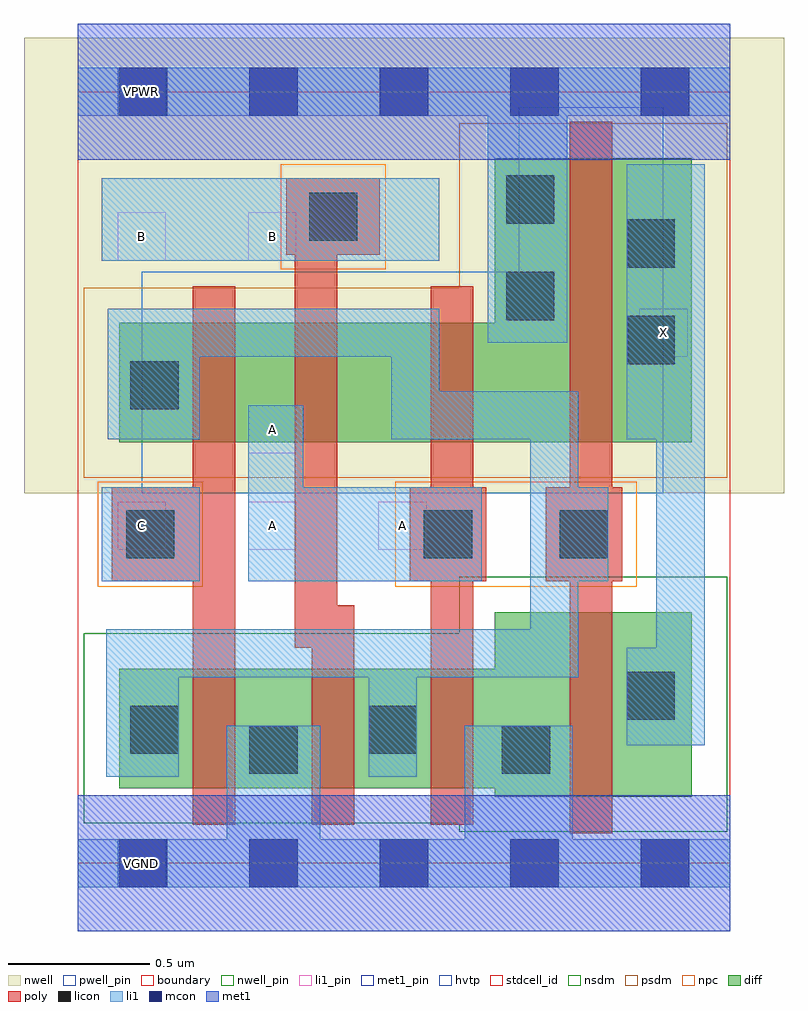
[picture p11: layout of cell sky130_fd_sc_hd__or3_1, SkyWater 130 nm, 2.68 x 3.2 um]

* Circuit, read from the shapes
.subckt sky130_fd_sc_hd__or3_1 A B C VGND VNB VPB VPWR X
XM1 VGND C n1 VNB sky130_fd_pr__nfet_01v8 w=0.42 l=0.15
XM2 n1 B VGND VNB sky130_fd_pr__nfet_01v8 w=0.42 l=0.15
XM3 VGND A n1 VNB sky130_fd_pr__nfet_01v8 w=0.42 l=0.15
XM4 X n1 VGND VNB sky130_fd_pr__nfet_01v8 w=0.65 l=0.15
XM5 n2 C n1 VPB sky130_fd_pr__pfet_01v8_hvt w=0.42 l=0.15
XM6 n3 B n2 VPB sky130_fd_pr__pfet_01v8_hvt w=0.42 l=0.15
XM7 VPWR A n3 VPB sky130_fd_pr__pfet_01v8_hvt w=0.42 l=0.15
XM8 X n1 VPWR VPB sky130_fd_pr__pfet_01v8_hvt w=1 l=0.15
.ends

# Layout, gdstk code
import gdstk
lib = gdstk.Library(unit=1e-6, precision=1e-09)
def R(c, l, rs):  # rectangles x0, y0, x1, y1
    for r in rs: c.add(gdstk.rectangle(r[:2], r[2:], *l))
def A(c, l, x, y, w, h, nx, ny, dx, dy):  # array of equal rectangles
    R(c, l, [(x+i*dx, y+j*dy, x+i*dx+w, y+j*dy+h) for i in range(nx) for j in range(ny)])
nwell_pin = (64, 16)
nwell = (64, 20)
diff = (65, 20)
poly = (66, 20)
licon = (66, 44)
li1_pin = (67, 16)
li1 = (67, 20)
mcon = (67, 44)
met1_pin = (68, 16)
met1 = (68, 20)
hvtp = (78, 44)
stdcell_id = (81, 4)
nsdm = (93, 44)
psdm = (94, 20)
npc = (95, 20)
pwell_pin = (122, 16)
boundary = (235, 4)

sky130_fd_sc_hd__or3_1 = lib.new_cell('sky130_fd_sc_hd__or3_1')
R(sky130_fd_sc_hd__or3_1, nwell_pin, [(0.14,2.635,0.31,2.805)])
R(sky130_fd_sc_hd__or3_1, nwell, [(-0.19,1.305,2.49,2.91)])
R(sky130_fd_sc_hd__or3_1, diff, [(1.47,0.235,2.165,0.265), (0.145,0.265,2.165,0.685), (1.47,0.685,2.165,0.885), (0.145,1.485,2.165,1.905), (1.47,1.905,2.165,2.485)])
R(sky130_fd_sc_hd__or3_1, poly, [(1.735,0.105,1.885,0.995), (0.405,0.135,0.555,0.995), (0.825,0.135,0.975,0.76), (1.245,0.135,1.395,0.995), (0.765,0.76,0.975,0.91), (0.765,0.91,0.915,2.145), (0.12,0.995,0.555,1.325), (1.17,0.995,1.44,1.325), (1.65,0.995,1.92,1.325), (0.405,1.325,0.555,2.035), (1.245,1.325,1.395,2.035), (1.735,1.325,1.885,2.615), (0.735,2.145,1.065,2.415)])
R(sky130_fd_sc_hd__or3_1, licon, [(0.605,0.315,0.775,0.485), (1.495,0.315,1.665,0.485), (0.185,0.385,0.355,0.555), (1.025,0.385,1.195,0.555), (1.935,0.505,2.105,0.675), (0.17,1.075,0.34,1.245), (1.22,1.075,1.39,1.245), (1.7,1.075,1.87,1.245), (0.185,1.6,0.355,1.77), (1.935,1.76,2.105,1.93), (1.51,1.915,1.68,2.085), (1.935,2.1,2.105,2.27), (0.815,2.195,0.985,2.365), (1.51,2.255,1.68,2.425)])
A(sky130_fd_sc_hd__or3_1, li1_pin, 0.14, 1.105, 0.17, 0.17, 3, 1, 0.46, 0)
R(sky130_fd_sc_hd__or3_1, li1_pin, [(0.6,1.445,0.77,1.615), (1.98,1.785,2.15,1.955), (0.14,2.125,0.31,2.295), (0.6,2.125,0.77,2.295)])
R(sky130_fd_sc_hd__or3_1, li1, [(0,-0.085,2.3,0.085), (0.525,0.085,0.855,0.485), (1.365,0.085,1.745,0.485), (0.1,0.305,0.355,0.655), (1.025,0.305,1.195,0.655), (1.935,0.415,2.21,0.76), (0.1,0.655,1.765,0.825), (2.04,0.76,2.21,1.495), (1.595,0.825,1.765,0.995), (0.085,0.995,0.43,1.325), (0.6,0.995,1.425,1.325), (1.595,0.995,1.87,1.325), (0.6,1.325,0.795,1.615), (1.595,1.325,1.765,1.495), (0.105,1.495,0.43,1.785), (1.105,1.495,1.765,1.665), (1.935,1.495,2.21,2.465), (1.105,1.665,1.275,1.785), (0.105,1.785,1.275,1.955), (1.445,1.835,1.725,2.635), (0.085,2.125,1.275,2.415), (0,2.635,2.3,2.805)])
A(sky130_fd_sc_hd__or3_1, mcon, 0.145, -0.085, 0.17, 0.17, 5, 2, 0.46, 2.72)
R(sky130_fd_sc_hd__or3_1, met1_pin, [(0.14,-0.085,0.31,0.085), (0.14,2.635,0.31,2.805)])
R(sky130_fd_sc_hd__or3_1, met1, [(0,-0.24,2.3,0.24), (0,2.48,2.3,2.96)])
R(sky130_fd_sc_hd__or3_1, hvtp, [(0.225,1.305,2.065,2.085), (1.555,2.085,2.065,2.665)])
R(sky130_fd_sc_hd__or3_1, stdcell_id, [(0,0,2.3,2.72)])
R(sky130_fd_sc_hd__or3_1, nsdm, [(1.345,0.11,2.29,0.14), (0.02,0.14,2.29,0.81), (1.345,0.81,2.29,1.01)])
R(sky130_fd_sc_hd__or3_1, psdm, [(0.02,1.36,2.29,2.03), (1.345,2.03,2.29,2.61)])
R(sky130_fd_sc_hd__or3_1, npc, [(0.07,0.975,0.44,1.345), (1.12,0.975,1.97,1.345), (0.715,2.095,1.085,2.465)])
R(sky130_fd_sc_hd__or3_1, pwell_pin, [(0.14,-0.085,0.31,0.085)])
R(sky130_fd_sc_hd__or3_1, boundary, [(0,0,2.3,2.72)])
sky130_fd_sc_hd__or3_1.add(gdstk.Label('VPWR', (0.225,2.72), layer=68, texttype=5))
sky130_fd_sc_hd__or3_1.add(gdstk.Label('VGND', (0.225,0), layer=68, texttype=5))
sky130_fd_sc_hd__or3_1.add(gdstk.Label('VPB', (0.225,2.72), layer=64, texttype=5))
sky130_fd_sc_hd__or3_1.add(gdstk.Label('VNB', (0.225,0), layer=64, texttype=59))
sky130_fd_sc_hd__or3_1.add(gdstk.Label('B', (0.685,2.21), layer=67, texttype=5))
sky130_fd_sc_hd__or3_1.add(gdstk.Label('B', (0.225,2.21), layer=67, texttype=5))
sky130_fd_sc_hd__or3_1.add(gdstk.Label('C', (0.225,1.19), layer=67, texttype=5))
sky130_fd_sc_hd__or3_1.add(gdstk.Label('A', (0.685,1.53), layer=67, texttype=5))
sky130_fd_sc_hd__or3_1.add(gdstk.Label('A', (0.685,1.19), layer=67, texttype=5))
sky130_fd_sc_hd__or3_1.add(gdstk.Label('A', (1.145,1.19), layer=67, texttype=5))
sky130_fd_sc_hd__or3_1.add(gdstk.Label('X', (2.065,1.87), layer=67, texttype=5))

lib.write_gds('sky130_fd_sc_hd__or3_1.gds')
